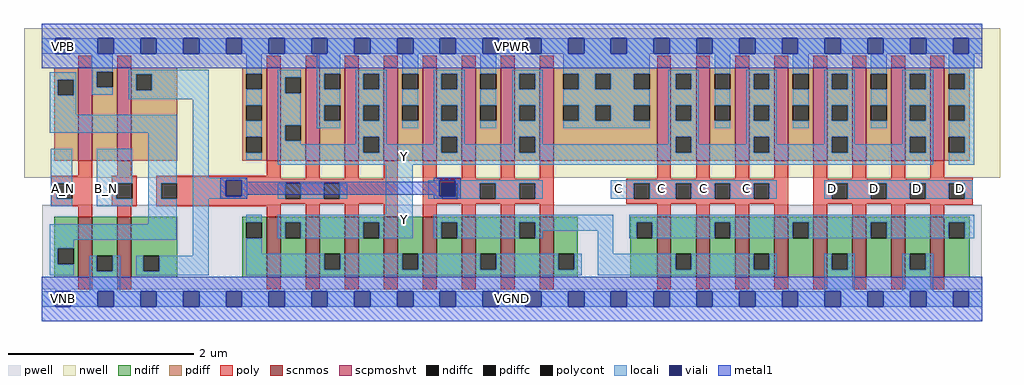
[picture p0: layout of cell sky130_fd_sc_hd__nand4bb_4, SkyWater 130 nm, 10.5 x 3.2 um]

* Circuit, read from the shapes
.subckt sky130_fd_sc_hd__nand4bb_4 A_N B_N C D VGND VNB VPB VPWR Y
XM1 VGND A_N n1 VNB sky130_fd_pr__nfet_01v8 w=0.65 l=0.15
XM2 n2 B_N VGND VNB sky130_fd_pr__nfet_01v8 w=0.65 l=0.15
XM3 Y n1 n3 VNB sky130_fd_pr__nfet_01v8 w=0.65 l=0.15 m=4
XM4 n4 n2 n3 VNB sky130_fd_pr__nfet_01v8 w=0.65 l=0.15 m=4
XM5 n4 C n5 VNB sky130_fd_pr__nfet_01v8 w=0.65 l=0.15 m=4
XM6 VGND D n5 VNB sky130_fd_pr__nfet_01v8 w=0.65 l=0.15 m=4
XM7 VPWR A_N n1 VPB sky130_fd_pr__pfet_01v8_hvt w=1 l=0.15
XM8 n2 B_N VPWR VPB sky130_fd_pr__pfet_01v8_hvt w=1 l=0.15
XM9 Y n1 VPWR VPB sky130_fd_pr__pfet_01v8_hvt w=1 l=0.15 m=4
XM10 Y n2 VPWR VPB sky130_fd_pr__pfet_01v8_hvt w=1 l=0.15 m=4
XM11 Y C VPWR VPB sky130_fd_pr__pfet_01v8_hvt w=1 l=0.15 m=4
XM12 Y D VPWR VPB sky130_fd_pr__pfet_01v8_hvt w=1 l=0.15 m=4
.ends

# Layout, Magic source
magic
tech sky130A
magscale 1 2
<< nwell >>
rect -38 261 2062 582
<< pwell >>
rect 1 21 2023 203
rect 29 -17 63 21
<< scnmos >>
rect 79 47 109 177
rect 163 47 193 177
rect 484 47 514 177
rect 568 47 598 177
rect 652 47 682 177
rect 736 47 766 177
rect 820 47 850 177
rect 904 47 934 177
rect 988 47 1018 177
rect 1072 47 1102 177
rect 1324 47 1354 177
rect 1408 47 1438 177
rect 1492 47 1522 177
rect 1576 47 1606 177
rect 1660 47 1690 177
rect 1744 47 1774 177
rect 1828 47 1858 177
rect 1912 47 1942 177
<< scpmoshvt >>
rect 79 297 109 497
rect 163 297 193 497
rect 484 297 514 497
rect 568 297 598 497
rect 652 297 682 497
rect 736 297 766 497
rect 820 297 850 497
rect 904 297 934 497
rect 988 297 1018 497
rect 1072 297 1102 497
rect 1324 297 1354 497
rect 1408 297 1438 497
rect 1492 297 1522 497
rect 1576 297 1606 497
rect 1660 297 1690 497
rect 1744 297 1774 497
rect 1828 297 1858 497
rect 1912 297 1942 497
<< ndiff >>
rect 27 109 79 177
rect 27 75 35 109
rect 69 75 79 109
rect 27 47 79 75
rect 109 93 163 177
rect 109 59 119 93
rect 153 59 163 93
rect 109 47 163 59
rect 193 93 292 177
rect 193 59 219 93
rect 253 59 292 93
rect 193 47 292 59
rect 432 165 484 177
rect 432 131 440 165
rect 474 131 484 165
rect 432 47 484 131
rect 514 165 568 177
rect 514 131 524 165
rect 558 131 568 165
rect 514 47 568 131
rect 598 97 652 177
rect 598 63 608 97
rect 642 63 652 97
rect 598 47 652 63
rect 682 165 736 177
rect 682 131 692 165
rect 726 131 736 165
rect 682 47 736 131
rect 766 97 820 177
rect 766 63 776 97
rect 810 63 820 97
rect 766 47 820 63
rect 850 165 904 177
rect 850 131 860 165
rect 894 131 904 165
rect 850 47 904 131
rect 934 97 988 177
rect 934 63 944 97
rect 978 63 988 97
rect 934 47 988 63
rect 1018 165 1072 177
rect 1018 131 1028 165
rect 1062 131 1072 165
rect 1018 47 1072 131
rect 1102 97 1154 177
rect 1102 63 1112 97
rect 1146 63 1154 97
rect 1102 47 1154 63
rect 1266 165 1324 177
rect 1266 131 1280 165
rect 1314 131 1324 165
rect 1266 47 1324 131
rect 1354 97 1408 177
rect 1354 63 1364 97
rect 1398 63 1408 97
rect 1354 47 1408 63
rect 1438 165 1492 177
rect 1438 131 1448 165
rect 1482 131 1492 165
rect 1438 47 1492 131
rect 1522 97 1576 177
rect 1522 63 1532 97
rect 1566 63 1576 97
rect 1522 47 1576 63
rect 1606 165 1660 177
rect 1606 131 1616 165
rect 1650 131 1660 165
rect 1606 47 1660 131
rect 1690 97 1744 177
rect 1690 63 1700 97
rect 1734 63 1744 97
rect 1690 47 1744 63
rect 1774 165 1828 177
rect 1774 131 1784 165
rect 1818 131 1828 165
rect 1774 47 1828 131
rect 1858 97 1912 177
rect 1858 63 1868 97
rect 1902 63 1912 97
rect 1858 47 1912 63
rect 1942 165 1997 177
rect 1942 131 1952 165
rect 1986 131 1997 165
rect 1942 47 1997 131
<< pdiff >>
rect 27 472 79 497
rect 27 438 35 472
rect 69 438 79 472
rect 27 297 79 438
rect 109 489 163 497
rect 109 455 119 489
rect 153 455 163 489
rect 109 297 163 455
rect 193 483 292 497
rect 193 449 203 483
rect 237 449 292 483
rect 193 297 292 449
rect 432 485 484 497
rect 432 451 440 485
rect 474 451 484 485
rect 432 417 484 451
rect 432 383 440 417
rect 474 383 484 417
rect 432 349 484 383
rect 432 315 440 349
rect 474 315 484 349
rect 432 297 484 315
rect 514 477 568 497
rect 514 443 524 477
rect 558 443 568 477
rect 514 374 568 443
rect 514 340 524 374
rect 558 340 568 374
rect 514 297 568 340
rect 598 485 652 497
rect 598 451 608 485
rect 642 451 652 485
rect 598 417 652 451
rect 598 383 608 417
rect 642 383 652 417
rect 598 297 652 383
rect 682 485 736 497
rect 682 451 692 485
rect 726 451 736 485
rect 682 417 736 451
rect 682 383 692 417
rect 726 383 736 417
rect 682 349 736 383
rect 682 315 692 349
rect 726 315 736 349
rect 682 297 736 315
rect 766 485 820 497
rect 766 451 776 485
rect 810 451 820 485
rect 766 417 820 451
rect 766 383 776 417
rect 810 383 820 417
rect 766 297 820 383
rect 850 485 904 497
rect 850 451 860 485
rect 894 451 904 485
rect 850 417 904 451
rect 850 383 860 417
rect 894 383 904 417
rect 850 349 904 383
rect 850 315 860 349
rect 894 315 904 349
rect 850 297 904 315
rect 934 485 988 497
rect 934 451 944 485
rect 978 451 988 485
rect 934 417 988 451
rect 934 383 944 417
rect 978 383 988 417
rect 934 297 988 383
rect 1018 485 1072 497
rect 1018 451 1028 485
rect 1062 451 1072 485
rect 1018 417 1072 451
rect 1018 383 1028 417
rect 1062 383 1072 417
rect 1018 349 1072 383
rect 1018 315 1028 349
rect 1062 315 1072 349
rect 1018 297 1072 315
rect 1102 485 1324 497
rect 1102 451 1122 485
rect 1156 451 1191 485
rect 1225 451 1274 485
rect 1308 451 1324 485
rect 1102 417 1324 451
rect 1102 383 1122 417
rect 1156 383 1191 417
rect 1225 383 1274 417
rect 1308 383 1324 417
rect 1102 297 1324 383
rect 1354 485 1408 497
rect 1354 451 1364 485
rect 1398 451 1408 485
rect 1354 417 1408 451
rect 1354 383 1364 417
rect 1398 383 1408 417
rect 1354 349 1408 383
rect 1354 315 1364 349
rect 1398 315 1408 349
rect 1354 297 1408 315
rect 1438 485 1492 497
rect 1438 451 1448 485
rect 1482 451 1492 485
rect 1438 417 1492 451
rect 1438 383 1448 417
rect 1482 383 1492 417
rect 1438 297 1492 383
rect 1522 485 1576 497
rect 1522 451 1532 485
rect 1566 451 1576 485
rect 1522 417 1576 451
rect 1522 383 1532 417
rect 1566 383 1576 417
rect 1522 349 1576 383
rect 1522 315 1532 349
rect 1566 315 1576 349
rect 1522 297 1576 315
rect 1606 485 1660 497
rect 1606 451 1616 485
rect 1650 451 1660 485
rect 1606 417 1660 451
rect 1606 383 1616 417
rect 1650 383 1660 417
rect 1606 297 1660 383
rect 1690 485 1744 497
rect 1690 451 1700 485
rect 1734 451 1744 485
rect 1690 417 1744 451
rect 1690 383 1700 417
rect 1734 383 1744 417
rect 1690 349 1744 383
rect 1690 315 1700 349
rect 1734 315 1744 349
rect 1690 297 1744 315
rect 1774 485 1828 497
rect 1774 451 1784 485
rect 1818 451 1828 485
rect 1774 417 1828 451
rect 1774 383 1784 417
rect 1818 383 1828 417
rect 1774 297 1828 383
rect 1858 485 1912 497
rect 1858 451 1868 485
rect 1902 451 1912 485
rect 1858 417 1912 451
rect 1858 383 1868 417
rect 1902 383 1912 417
rect 1858 349 1912 383
rect 1858 315 1868 349
rect 1902 315 1912 349
rect 1858 297 1912 315
rect 1942 485 1997 497
rect 1942 451 1952 485
rect 1986 451 1997 485
rect 1942 417 1997 451
rect 1942 383 1952 417
rect 1986 383 1997 417
rect 1942 349 1997 383
rect 1942 315 1952 349
rect 1986 315 1997 349
rect 1942 297 1997 315
<< ndiffc >>
rect 35 75 69 109
rect 119 59 153 93
rect 219 59 253 93
rect 440 131 474 165
rect 524 131 558 165
rect 608 63 642 97
rect 692 131 726 165
rect 776 63 810 97
rect 860 131 894 165
rect 944 63 978 97
rect 1028 131 1062 165
rect 1112 63 1146 97
rect 1280 131 1314 165
rect 1364 63 1398 97
rect 1448 131 1482 165
rect 1532 63 1566 97
rect 1616 131 1650 165
rect 1700 63 1734 97
rect 1784 131 1818 165
rect 1868 63 1902 97
rect 1952 131 1986 165
<< pdiffc >>
rect 35 438 69 472
rect 119 455 153 489
rect 203 449 237 483
rect 440 451 474 485
rect 440 383 474 417
rect 440 315 474 349
rect 524 443 558 477
rect 524 340 558 374
rect 608 451 642 485
rect 608 383 642 417
rect 692 451 726 485
rect 692 383 726 417
rect 692 315 726 349
rect 776 451 810 485
rect 776 383 810 417
rect 860 451 894 485
rect 860 383 894 417
rect 860 315 894 349
rect 944 451 978 485
rect 944 383 978 417
rect 1028 451 1062 485
rect 1028 383 1062 417
rect 1028 315 1062 349
rect 1122 451 1156 485
rect 1191 451 1225 485
rect 1274 451 1308 485
rect 1122 383 1156 417
rect 1191 383 1225 417
rect 1274 383 1308 417
rect 1364 451 1398 485
rect 1364 383 1398 417
rect 1364 315 1398 349
rect 1448 451 1482 485
rect 1448 383 1482 417
rect 1532 451 1566 485
rect 1532 383 1566 417
rect 1532 315 1566 349
rect 1616 451 1650 485
rect 1616 383 1650 417
rect 1700 451 1734 485
rect 1700 383 1734 417
rect 1700 315 1734 349
rect 1784 451 1818 485
rect 1784 383 1818 417
rect 1868 451 1902 485
rect 1868 383 1902 417
rect 1868 315 1902 349
rect 1952 451 1986 485
rect 1952 383 1986 417
rect 1952 315 1986 349
<< poly >>
rect 79 497 109 523
rect 163 497 193 523
rect 484 497 514 523
rect 568 497 598 523
rect 652 497 682 523
rect 736 497 766 523
rect 820 497 850 523
rect 904 497 934 523
rect 988 497 1018 523
rect 1072 497 1102 523
rect 1324 497 1354 523
rect 1408 497 1438 523
rect 1492 497 1522 523
rect 1576 497 1606 523
rect 1660 497 1690 523
rect 1744 497 1774 523
rect 1828 497 1858 523
rect 1912 497 1942 523
rect 79 265 109 297
rect 163 265 193 297
rect 484 265 514 297
rect 21 249 109 265
rect 21 215 32 249
rect 66 215 109 249
rect 21 199 109 215
rect 151 249 205 265
rect 151 215 161 249
rect 195 215 205 249
rect 151 199 205 215
rect 247 259 514 265
rect 568 259 598 297
rect 652 259 682 297
rect 736 259 766 297
rect 247 249 766 259
rect 247 215 257 249
rect 291 215 524 249
rect 558 215 607 249
rect 641 215 766 249
rect 247 205 766 215
rect 247 199 514 205
rect 79 177 109 199
rect 163 177 193 199
rect 484 177 514 199
rect 568 177 598 205
rect 652 177 682 205
rect 736 177 766 205
rect 820 259 850 297
rect 904 259 934 297
rect 988 259 1018 297
rect 1072 259 1102 297
rect 1324 259 1354 297
rect 1408 259 1438 297
rect 1492 259 1522 297
rect 1576 259 1606 297
rect 820 249 1102 259
rect 820 215 861 249
rect 895 215 943 249
rect 977 215 1028 249
rect 1062 215 1102 249
rect 820 205 1102 215
rect 1258 249 1606 259
rect 1258 215 1274 249
rect 1308 215 1364 249
rect 1398 215 1448 249
rect 1482 215 1532 249
rect 1566 215 1606 249
rect 1258 205 1606 215
rect 820 177 850 205
rect 904 177 934 205
rect 988 177 1018 205
rect 1072 177 1102 205
rect 1324 177 1354 205
rect 1408 177 1438 205
rect 1492 177 1522 205
rect 1576 177 1606 205
rect 1660 259 1690 297
rect 1744 259 1774 297
rect 1828 259 1858 297
rect 1912 261 1942 297
rect 1912 259 2003 261
rect 1660 249 2003 259
rect 1660 215 1700 249
rect 1734 215 1784 249
rect 1818 215 1868 249
rect 1902 215 1952 249
rect 1986 215 2003 249
rect 1660 205 2003 215
rect 1660 177 1690 205
rect 1744 177 1774 205
rect 1828 177 1858 205
rect 1912 203 2003 205
rect 1912 177 1942 203
rect 79 21 109 47
rect 163 21 193 47
rect 484 21 514 47
rect 568 21 598 47
rect 652 21 682 47
rect 736 21 766 47
rect 820 21 850 47
rect 904 21 934 47
rect 988 21 1018 47
rect 1072 21 1102 47
rect 1324 21 1354 47
rect 1408 21 1438 47
rect 1492 21 1522 47
rect 1576 21 1606 47
rect 1660 21 1690 47
rect 1744 21 1774 47
rect 1828 21 1858 47
rect 1912 21 1942 47
<< polycont >>
rect 32 215 66 249
rect 161 215 195 249
rect 257 215 291 249
rect 524 215 558 249
rect 607 215 641 249
rect 861 215 895 249
rect 943 215 977 249
rect 1028 215 1062 249
rect 1274 215 1308 249
rect 1364 215 1398 249
rect 1448 215 1482 249
rect 1532 215 1566 249
rect 1700 215 1734 249
rect 1784 215 1818 249
rect 1868 215 1902 249
rect 1952 215 1986 249
<< locali >>
rect 0 527 29 561
rect 63 527 121 561
rect 155 527 213 561
rect 247 527 305 561
rect 339 527 397 561
rect 431 527 489 561
rect 523 527 581 561
rect 615 527 673 561
rect 707 527 765 561
rect 799 527 857 561
rect 891 527 949 561
rect 983 527 1041 561
rect 1075 527 1133 561
rect 1167 527 1225 561
rect 1259 527 1317 561
rect 1351 527 1409 561
rect 1443 527 1501 561
rect 1535 527 1593 561
rect 1627 527 1685 561
rect 1719 527 1777 561
rect 1811 527 1869 561
rect 1903 527 1961 561
rect 1995 527 2024 561
rect 108 489 153 527
rect 17 472 74 488
rect 17 438 35 472
rect 69 438 74 472
rect 108 455 119 489
rect 108 439 153 455
rect 187 483 359 493
rect 187 449 203 483
rect 237 449 359 483
rect 17 396 74 438
rect 187 430 359 449
rect 17 357 291 396
rect 20 249 66 323
rect 20 215 32 249
rect 20 199 66 215
rect 118 249 195 323
rect 118 215 161 249
rect 118 199 195 215
rect 229 249 291 357
rect 229 215 257 249
rect 229 161 291 215
rect 17 127 291 161
rect 325 261 359 430
rect 440 485 474 527
rect 440 417 474 451
rect 440 349 474 383
rect 440 299 474 315
rect 508 477 558 493
rect 508 443 524 477
rect 508 374 558 443
rect 508 340 524 374
rect 592 485 642 527
rect 592 451 608 485
rect 592 417 642 451
rect 592 383 608 417
rect 592 367 642 383
rect 676 485 742 493
rect 676 451 692 485
rect 726 451 742 485
rect 676 417 742 451
rect 676 383 692 417
rect 726 383 742 417
rect 508 333 558 340
rect 676 349 742 383
rect 776 485 810 527
rect 776 417 810 451
rect 776 367 810 383
rect 844 485 910 493
rect 844 451 860 485
rect 894 451 910 485
rect 844 417 910 451
rect 844 383 860 417
rect 894 383 910 417
rect 676 333 692 349
rect 508 315 692 333
rect 726 333 742 349
rect 844 349 910 383
rect 944 485 978 527
rect 944 417 978 451
rect 944 367 978 383
rect 1012 485 1078 493
rect 1012 451 1028 485
rect 1062 451 1078 485
rect 1012 417 1078 451
rect 1012 383 1028 417
rect 1062 383 1078 417
rect 844 333 860 349
rect 726 315 860 333
rect 894 333 910 349
rect 1012 349 1078 383
rect 1122 485 1308 527
rect 1156 451 1191 485
rect 1225 451 1274 485
rect 1122 417 1308 451
rect 1156 383 1191 417
rect 1225 383 1274 417
rect 1122 367 1308 383
rect 1348 485 1414 493
rect 1348 451 1364 485
rect 1398 451 1414 485
rect 1348 417 1414 451
rect 1348 383 1364 417
rect 1398 383 1414 417
rect 1012 333 1028 349
rect 894 315 1028 333
rect 1062 333 1078 349
rect 1348 349 1414 383
rect 1448 485 1482 527
rect 1448 417 1482 451
rect 1448 367 1482 383
rect 1516 485 1582 493
rect 1516 451 1532 485
rect 1566 451 1582 485
rect 1516 417 1582 451
rect 1516 383 1532 417
rect 1566 383 1582 417
rect 1348 333 1364 349
rect 1062 315 1364 333
rect 1398 333 1414 349
rect 1516 349 1582 383
rect 1616 485 1650 527
rect 1616 417 1650 451
rect 1616 367 1650 383
rect 1684 485 1750 493
rect 1684 451 1700 485
rect 1734 451 1750 485
rect 1684 417 1750 451
rect 1684 383 1700 417
rect 1734 383 1750 417
rect 1516 333 1532 349
rect 1398 315 1532 333
rect 1566 333 1582 349
rect 1684 349 1750 383
rect 1784 485 1818 527
rect 1784 417 1818 451
rect 1784 367 1818 383
rect 1852 485 1918 493
rect 1852 451 1868 485
rect 1902 451 1918 485
rect 1852 417 1918 451
rect 1852 383 1868 417
rect 1902 383 1918 417
rect 1684 333 1700 349
rect 1566 315 1700 333
rect 1734 333 1750 349
rect 1852 349 1918 383
rect 1852 333 1868 349
rect 1734 315 1868 333
rect 1902 315 1918 349
rect 508 289 1918 315
rect 1952 485 2007 527
rect 1986 451 2007 485
rect 1952 417 2007 451
rect 1986 383 2007 417
rect 1952 349 2007 383
rect 1986 315 2007 349
rect 1952 289 2007 315
rect 325 255 442 261
rect 325 221 396 255
rect 430 221 442 255
rect 325 215 442 221
rect 508 215 524 249
rect 558 215 607 249
rect 641 215 657 249
rect 17 109 69 127
rect 17 75 35 109
rect 325 93 359 215
rect 740 181 798 289
rect 832 221 856 255
rect 890 249 1078 255
rect 832 215 861 221
rect 895 215 943 249
rect 977 215 1028 249
rect 1062 215 1078 249
rect 1224 249 1582 255
rect 1224 215 1274 249
rect 1308 215 1364 249
rect 1398 215 1448 249
rect 1482 215 1532 249
rect 1566 215 1582 249
rect 1684 249 2003 255
rect 1684 215 1700 249
rect 1734 215 1784 249
rect 1818 215 1868 249
rect 1902 215 1952 249
rect 1986 215 2003 249
rect 17 51 69 75
rect 103 59 119 93
rect 153 59 169 93
rect 103 17 169 59
rect 203 59 219 93
rect 253 59 359 93
rect 203 51 359 59
rect 440 165 474 181
rect 508 165 798 181
rect 508 131 524 165
rect 558 131 692 165
rect 726 131 798 165
rect 844 165 1230 181
rect 844 131 860 165
rect 894 131 1028 165
rect 1062 147 1230 165
rect 1062 131 1078 147
rect 440 97 474 131
rect 1196 97 1230 147
rect 1264 165 2007 181
rect 1264 131 1280 165
rect 1314 131 1448 165
rect 1482 131 1616 165
rect 1650 131 1784 165
rect 1818 131 1952 165
rect 1986 131 2007 165
rect 440 63 608 97
rect 642 63 776 97
rect 810 63 944 97
rect 978 63 1112 97
rect 1146 63 1162 97
rect 440 51 1162 63
rect 1196 63 1364 97
rect 1398 63 1532 97
rect 1566 63 1582 97
rect 1196 51 1582 63
rect 1684 63 1700 97
rect 1734 63 1750 97
rect 1684 17 1750 63
rect 1852 63 1868 97
rect 1902 63 1918 97
rect 1852 17 1918 63
rect 0 -17 29 17
rect 63 -17 121 17
rect 155 -17 213 17
rect 247 -17 305 17
rect 339 -17 397 17
rect 431 -17 489 17
rect 523 -17 581 17
rect 615 -17 673 17
rect 707 -17 765 17
rect 799 -17 857 17
rect 891 -17 949 17
rect 983 -17 1041 17
rect 1075 -17 1133 17
rect 1167 -17 1225 17
rect 1259 -17 1317 17
rect 1351 -17 1409 17
rect 1443 -17 1501 17
rect 1535 -17 1593 17
rect 1627 -17 1685 17
rect 1719 -17 1777 17
rect 1811 -17 1869 17
rect 1903 -17 1961 17
rect 1995 -17 2024 17
<< viali >>
rect 29 527 63 561
rect 121 527 155 561
rect 213 527 247 561
rect 305 527 339 561
rect 397 527 431 561
rect 489 527 523 561
rect 581 527 615 561
rect 673 527 707 561
rect 765 527 799 561
rect 857 527 891 561
rect 949 527 983 561
rect 1041 527 1075 561
rect 1133 527 1167 561
rect 1225 527 1259 561
rect 1317 527 1351 561
rect 1409 527 1443 561
rect 1501 527 1535 561
rect 1593 527 1627 561
rect 1685 527 1719 561
rect 1777 527 1811 561
rect 1869 527 1903 561
rect 1961 527 1995 561
rect 396 221 430 255
rect 856 249 890 255
rect 856 221 861 249
rect 861 221 890 249
rect 29 -17 63 17
rect 121 -17 155 17
rect 213 -17 247 17
rect 305 -17 339 17
rect 397 -17 431 17
rect 489 -17 523 17
rect 581 -17 615 17
rect 673 -17 707 17
rect 765 -17 799 17
rect 857 -17 891 17
rect 949 -17 983 17
rect 1041 -17 1075 17
rect 1133 -17 1167 17
rect 1225 -17 1259 17
rect 1317 -17 1351 17
rect 1409 -17 1443 17
rect 1501 -17 1535 17
rect 1593 -17 1627 17
rect 1685 -17 1719 17
rect 1777 -17 1811 17
rect 1869 -17 1903 17
rect 1961 -17 1995 17
<< metal1 >>
rect 0 561 2024 592
rect 0 527 29 561
rect 63 527 121 561
rect 155 527 213 561
rect 247 527 305 561
rect 339 527 397 561
rect 431 527 489 561
rect 523 527 581 561
rect 615 527 673 561
rect 707 527 765 561
rect 799 527 857 561
rect 891 527 949 561
rect 983 527 1041 561
rect 1075 527 1133 561
rect 1167 527 1225 561
rect 1259 527 1317 561
rect 1351 527 1409 561
rect 1443 527 1501 561
rect 1535 527 1593 561
rect 1627 527 1685 561
rect 1719 527 1777 561
rect 1811 527 1869 561
rect 1903 527 1961 561
rect 1995 527 2024 561
rect 0 496 2024 527
rect 384 255 442 261
rect 384 221 396 255
rect 430 252 442 255
rect 844 255 902 261
rect 844 252 856 255
rect 430 224 856 252
rect 430 221 442 224
rect 384 215 442 221
rect 844 221 856 224
rect 890 221 902 255
rect 844 215 902 221
rect 0 17 2024 48
rect 0 -17 29 17
rect 63 -17 121 17
rect 155 -17 213 17
rect 247 -17 305 17
rect 339 -17 397 17
rect 431 -17 489 17
rect 523 -17 581 17
rect 615 -17 673 17
rect 707 -17 765 17
rect 799 -17 857 17
rect 891 -17 949 17
rect 983 -17 1041 17
rect 1075 -17 1133 17
rect 1167 -17 1225 17
rect 1259 -17 1317 17
rect 1351 -17 1409 17
rect 1443 -17 1501 17
rect 1535 -17 1593 17
rect 1627 -17 1685 17
rect 1719 -17 1777 17
rect 1811 -17 1869 17
rect 1903 -17 1961 17
rect 1995 -17 2024 17
rect 0 -48 2024 -17
<< labels >>
flabel locali s 122 221 156 255 0 FreeSans 200 0 0 0 B_N
port 2 nsew signal input
flabel locali s 30 221 64 255 0 FreeSans 200 0 0 0 A_N
port 1 nsew signal input
flabel locali s 1224 221 1258 255 0 FreeSans 200 0 0 0 C
port 3 nsew signal input
flabel locali s 764 153 798 187 0 FreeSans 200 0 0 0 Y
port 9 nsew signal output
flabel locali s 764 289 798 323 0 FreeSans 200 0 0 0 Y
port 9 nsew signal output
flabel locali s 1316 221 1350 255 0 FreeSans 200 0 0 0 C
port 3 nsew signal input
flabel locali s 1408 221 1442 255 0 FreeSans 200 0 0 0 C
port 3 nsew signal input
flabel locali s 1500 221 1534 255 0 FreeSans 200 0 0 0 C
port 3 nsew signal input
flabel locali s 1684 221 1718 255 0 FreeSans 200 0 0 0 D
port 4 nsew signal input
flabel locali s 1868 221 1902 255 0 FreeSans 200 0 0 0 D
port 4 nsew signal input
flabel locali s 1960 221 1994 255 0 FreeSans 200 0 0 0 D
port 4 nsew signal input
flabel locali s 1776 221 1810 255 0 FreeSans 200 0 0 0 D
port 4 nsew signal input
flabel pwell s 29 -17 63 17 0 FreeSans 200 0 0 0 VNB
port 6 nsew ground bidirectional
flabel nwell s 29 527 63 561 0 FreeSans 200 0 0 0 VPB
port 7 nsew power bidirectional
flabel metal1 s 29 -17 63 17 0 FreeSans 200 0 0 0 VGND
port 5 nsew ground bidirectional abutment
flabel metal1 s 29 527 63 561 0 FreeSans 200 0 0 0 VPWR
port 8 nsew power bidirectional abutment
rlabel comment s 0 0 0 0 4 nand4bb_4
rlabel metal1 s 0 -48 2024 48 1 VGND
port 5 nsew ground bidirectional abutment
rlabel metal1 s 0 496 2024 592 1 VPWR
port 8 nsew power bidirectional abutment
<< properties >>
string FIXED_BBOX 0 0 2024 544
string GDS_END 1953980
string GDS_FILE $PDKPATH/libs.ref/sky130_fd_sc_hd/gds/sky130_fd_sc_hd.gds
string GDS_START 1938992
string LEFclass CORE
string LEFsite unithd
string LEFsymmetry X Y R90
string path 0.000 0.000 50.600 0.000 
<< end >>
